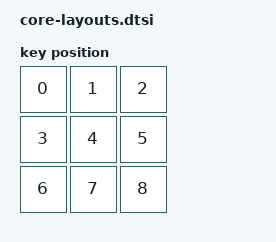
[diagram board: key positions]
#include <physical_layouts.dtsi>

/ {
    core_physical_layout: core_physical_layout {
        compatible = "zmk,physical-layout";
        display-name = "Core";
        transform = <&default_transform>;
        kscan = <&kscan0>;
        keys  //                     w   h    x    y     rot    rx    ry
            = <&key_physical_attrs 100 100    0    0       0     0     0>
            , <&key_physical_attrs 100 100  100    0       0     0     0>
            , <&key_physical_attrs 100 100  200    0       0     0     0>
            , <&key_physical_attrs 100 100    0  100       0     0     0>
            , <&key_physical_attrs 100 100  100  100       0     0     0>
            , <&key_physical_attrs 100 100  200  100       0     0     0>
            , <&key_physical_attrs 100 100    0  200       0     0     0>
            , <&key_physical_attrs 100 100  100  200       0     0     0>
            , <&key_physical_attrs 100 100  200  200       0     0     0>
            ;
    };
};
